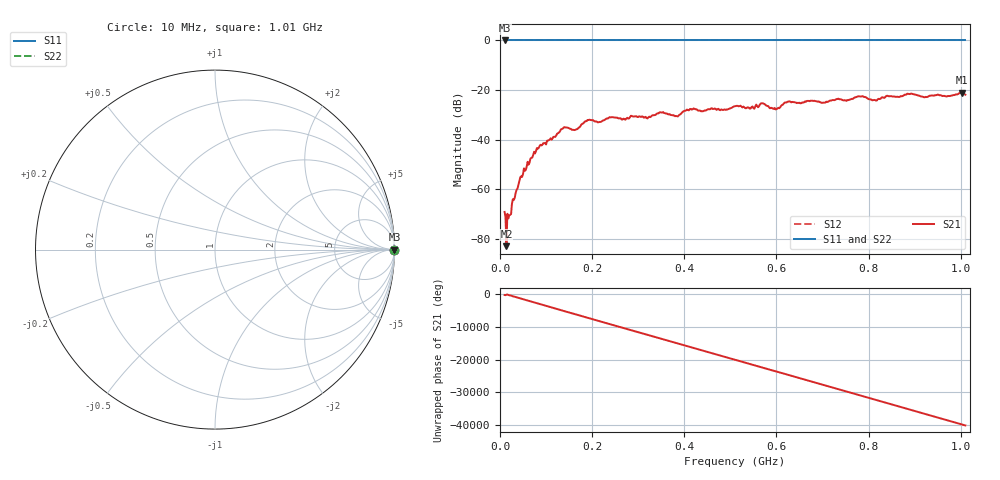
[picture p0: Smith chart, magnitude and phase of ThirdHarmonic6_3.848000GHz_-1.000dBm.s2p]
! 8/17/2025 1:25:15 PM
! C:\ANRITSUVNA\TEMP\TEMP.S2P
! CHANNEL.1
! TR.MEASUREMENT
! RAW.DATA
! RF.CORRECTION.OFF
! AVERAGING.OFF
! IF.BANDWIDTH: 5KHZ
! SWEEPTYPE:  FREQ.SWEEP(Linear)
! Reference Plane Port Info
! PORT:  PORT1  PORT2
! DISTANCE:  0  m  0  m
! TIME:  0  s  0  s
! PHASE.OFFSET:  0  deg.  0  deg.
! LOSS:  0  dB  0  dB
! REF.LOSS:  0  dB  0  dB
! REF.FREQ:  0  Hz  0  Hz
! Power Info
! POWER:  -20  dBm  -20  dBm
! EFF.POWER:  -20  dBm  -20  dBm
! SOURCE.ATTEN:  0  dB  0  dB
! TEST.ATTEN:  0  dB  0  dB
# GHZ S RI R 50.0
! FREQ.GHZ  S11RE  S11IM  S21RE  S21IM  S12RE  S12IM  S22RE  S22IM
!; PortSelection: Port_12
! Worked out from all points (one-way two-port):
!   501 points, 10 MHz to 1.01 GHz, reference 50 ohm
!   highest |S21| = -21.13 dB at 1.002 GHz (marker M1); lowest = -83.0 dB at 14 MHz (marker M2)
!   lowest |S11| = 0.0 dB at 10 MHz (marker M3)
!   |S11| at or under -10 dB: nowhere
!   |S22| runs from 0.0 to 0.0 dB; largest |S21 - S12| = 1.1
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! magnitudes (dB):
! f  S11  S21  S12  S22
! 10 MHz  0.0  -69.2  0.0  0.0
! 14 MHz  0.0  -83.0  0.0  0.0
! 18 MHz  0.0  -71.9  0.0  0.0
! 30 MHz  0.0  -64.4  0.0  0.0
! 48 MHz  0.0  -55.1  0.0  0.0
! 84 MHz  0.0  -43.4  0.0  0.0
! 136 MHz  0.0  -35.6  0.0  0.0
! 164 MHz  0.0  -36.0  0.0  0.0
! 178 MHz  0.0  -33.7  0.0  0.0
! 344 MHz  0.0  -29.4  0.0  0.0
! 384 MHz  0.0  -30.6  0.0  0.0
! 416 MHz  0.0  -27.9  0.0  0.0
! 510 MHz  0.0  -26.5  0.0  0.0
! 570 MHz  0.0  -25.4  0.0  0.0
! 598 MHz  0.0  -27.8  0.0  0.0
! 624 MHz  0.0  -24.7  0.0  0.0
! 678 MHz  0.0  -24.4  0.0  0.0
! 782 MHz  0.0  -22.6  0.0  0.0
! 814 MHz  0.0  -24.1  0.0  0.0
! 844 MHz  0.0  -22.5  0.0  0.0
! 1.002 GHz  0.0  -21.1  0.0  0.0
! 1.01 GHz  0.0  -21.9  0.0  0.0
